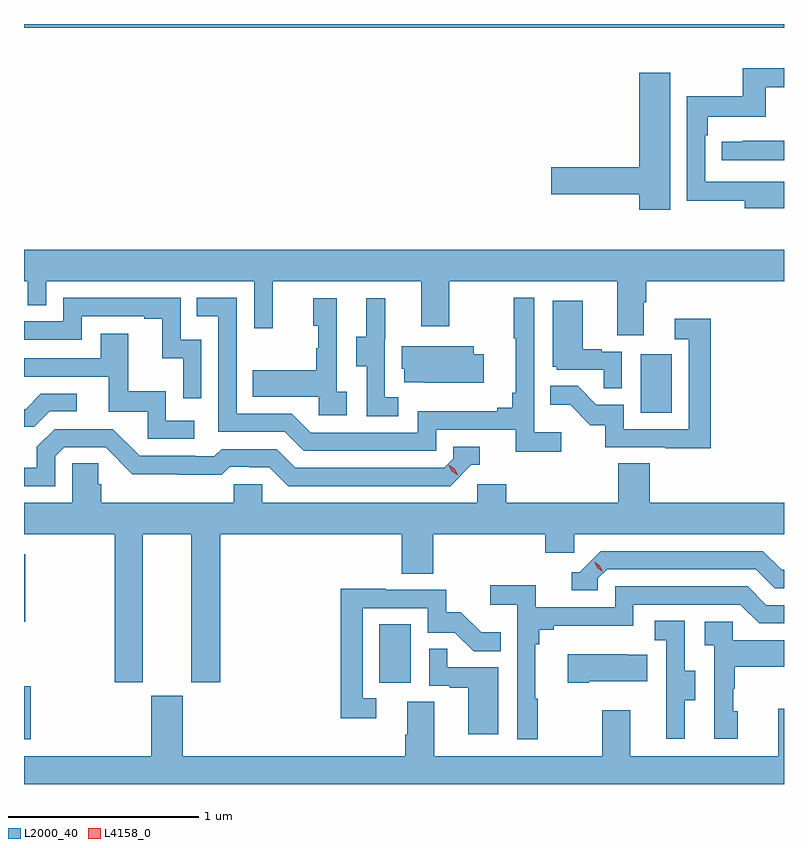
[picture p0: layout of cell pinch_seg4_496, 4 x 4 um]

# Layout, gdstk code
import gdstk
lib = gdstk.Library(unit=1e-6, precision=1e-09)
def R(c, l, rs):  # rectangles x0, y0, x1, y1
    for r in rs: c.add(gdstk.rectangle(r[:2], r[2:], *l))
def P(c, l, *ps):  # polygons
    for p in ps: c.add(gdstk.Polygon(p, *l))
L2000_40 = (2000, 40)
L4158_0 = (4158, 0)

pinch_seg4_496 = lib.new_cell('pinch_seg4_496')
R(pinch_seg4_496, L2000_40, [(982.851,755.781,982.886,756.06), (984.722,756.078,984.886,756.385), (982.851,756.398,982.857,756.754), (986.096,757.5,986.26,757.807), (982.851,759.524,986.851,759.545)])
P(pinch_seg4_496, L2000_40, [(986.851,758.716),(986.749,758.716),(986.749,758.715),(986.436,758.715),(986.436,758.96),(986.45,758.96),(986.45,759.056),(986.755,759.056),(986.755,759.211),(986.851,759.211),(986.851,759.312),(986.634,759.312),(986.634,759.166),(986.34,759.166),(986.34,758.614),(986.645,758.614),(986.645,758.576),(986.851,758.576)],
  [(986.251,759.289),(986.09,759.289),(986.09,758.792),(985.626,758.792),(985.626,758.65),(986.09,758.65),(986.09,758.568),(986.251,758.568)],
  [(986.851,758.93),(986.635,758.93),(986.635,758.925),(986.523,758.925),(986.523,758.829),(986.851,758.829)],
  [(986.113,758.08),(986.126,758.08),(986.126,758.192),(986.851,758.192),(986.851,758.356),(982.851,758.356),(982.851,758.192),(982.872,758.192),(982.872,758.065),(982.968,758.065),(982.968,758.192),(984.063,758.192),(984.063,757.944),(984.161,757.944),(984.161,758.192),(984.941,758.192),(984.941,757.953),(985.089,757.953),(985.089,758.192),(985.973,758.192),(985.973,757.906),(986.113,757.906)],
  [(985.678,757.396),(985.536,757.396),(985.536,758.104),(985.428,758.104),(985.428,757.891),(985.439,757.891),(985.439,757.603),(985.42,757.603),(985.42,757.526),(985.343,757.526),(985.343,757.507),(984.924,757.507),(984.924,757.395),(984.36,757.395),(984.261,757.494),(983.97,757.494),(983.97,758.103),(983.761,758.103),(983.761,758.007),(983.874,758.007),(983.874,757.398),(984.224,757.398),(984.323,757.299),(985.02,757.299),(985.02,757.41),(985.439,757.41),(985.439,757.294),(985.678,757.294)],
  [(983.784,757.884),(983.676,757.884),(983.676,758.103),(983.058,758.103),(983.058,757.98),(982.851,757.98),(982.851,757.884),(983.154,757.884),(983.154,758.007),(983.483,758.007),(983.483,757.995),(983.579,757.995),(983.579,757.787),(983.688,757.787),(983.688,757.575),(983.784,757.575)],
  [(984.82,757.581),(984.75,757.581),(984.75,757.887),(984.752,757.887),(984.752,758.101),(984.653,758.101),(984.653,757.899),(984.599,757.899),(984.599,757.744),(984.654,757.744),(984.654,757.48),(984.82,757.48)],
  [(984.55,757.61),(984.498,757.61),(984.498,758.101),(984.374,758.101),(984.374,757.956),(984.4,757.956),(984.4,757.838),(984.39,757.838),(984.39,757.723),(984.055,757.723),(984.055,757.583),(984.402,757.583),(984.402,757.485),(984.55,757.485)],
  [(985.998,757.821),(985.892,757.821),(985.892,757.834),(985.792,757.834),(985.792,758.089),(985.634,758.089),(985.634,757.74),(985.656,757.74),(985.656,757.725),(985.903,757.725),(985.903,757.627),(985.998,757.627)],
  [(986.465,757.993),(986.277,757.993),(986.277,757.887),(986.349,757.887),(986.349,757.413),(986.007,757.413),(986.007,757.542),(985.863,757.542),(985.765,757.64),(985.621,757.64),(985.621,757.541),(985.725,757.541),(985.832,757.434),(985.909,757.434),(985.909,757.317),(986.227,757.317),(986.227,757.312),(986.465,757.312)],
  [(983.746,757.458),(983.598,757.458),(983.598,757.612),(983.399,757.612),(983.399,757.915),(983.255,757.915),(983.255,757.785),(982.851,757.785),(982.851,757.689),(983.297,757.689),(983.297,757.503),(983.502,757.503),(983.502,757.362),(983.746,757.362)],
  [(985.27,757.806),(985.219,757.806),(985.219,757.849),(984.839,757.849),(984.839,757.731),(984.851,757.731),(984.851,757.659),(984.955,757.659),(984.955,757.658),(985.27,757.658)],
  [(982.986,757.506),(983.128,757.506),(983.128,757.599),(982.94,757.599),(982.859,757.518),(982.851,757.518),(982.851,757.426),(982.906,757.426)],
  [(983.016,757.269),(983.064,757.317),(983.28,757.317),(983.422,757.175),(983.658,757.175),(983.658,757.173),(983.891,757.173),(983.933,757.215),(984.036,757.215),(984.036,757.212),(984.143,757.212),(984.242,757.113),(985.095,757.113),(985.206,757.224),(985.249,757.224),(985.249,757.32),(985.11,757.32),(985.11,757.257),(985.062,757.209),(984.279,757.209),(984.18,757.308),(983.891,757.308),(983.852,757.269),(983.753,757.269),(983.753,757.272),(983.46,757.272),(983.319,757.413),(983.013,757.413),(982.919,757.319),(982.919,757.209),(982.851,757.209),(982.851,757.113),(983.016,757.113)],
  [(983.476,756.86),(983.732,756.86),(983.732,756.081),(983.885,756.081),(983.885,756.86),(984.839,756.86),(984.839,756.652),(985.004,756.652),(985.004,756.86),(985.595,756.86),(985.595,756.762),(985.746,756.762),(985.746,756.86),(986.851,756.86),(986.851,757.024),(986.144,757.024),(986.144,757.232),(985.979,757.232),(985.979,757.024),(985.388,757.024),(985.388,757.122),(985.236,757.122),(985.236,757.024),(984.105,757.024),(984.105,757.122),(983.955,757.122),(983.955,757.024),(983.258,757.024),(983.258,757.122),(983.243,757.122),(983.243,757.232),(983.106,757.232),(983.106,757.024),(982.851,757.024),(982.851,756.86),(983.329,756.86),(983.329,756.081),(983.476,756.081)],
  [(985.872,756.627),(985.92,756.675),(986.703,756.675),(986.802,756.576),(986.851,756.576),(986.851,756.672),(986.839,756.672),(986.74,756.771),(985.887,756.771),(985.776,756.66),(985.733,756.66),(985.733,756.564),(985.872,756.564)],
  [(985.555,755.993),(985.543,755.993),(985.543,756.281),(985.562,756.281),(985.562,756.358),(985.639,756.358),(985.639,756.377),(986.058,756.377),(986.058,756.489),(986.622,756.489),(986.721,756.39),(986.851,756.39),(986.851,756.486),(986.758,756.486),(986.659,756.585),(985.962,756.585),(985.962,756.474),(985.544,756.474),(985.544,756.59),(985.305,756.59),(985.305,756.488),(985.446,756.488),(985.446,755.781),(985.555,755.781)],
  [(984.706,755.997),(984.633,755.997),(984.633,756.471),(984.975,756.471),(984.975,756.342),(985.119,756.342),(985.217,756.244),(985.361,756.244),(985.361,756.343),(985.257,756.343),(985.15,756.45),(985.074,756.45),(985.074,756.567),(984.755,756.567),(984.755,756.572),(984.517,756.572),(984.517,755.892),(984.706,755.892)],
  [(986.329,755.986),(986.383,755.986),(986.383,756.141),(986.328,756.141),(986.328,756.404),(986.172,756.404),(986.172,756.301),(986.232,756.301),(986.232,755.997),(986.231,755.997),(986.231,755.784),(986.329,755.784)],
  [(986.608,755.928),(986.583,755.928),(986.583,756.047),(986.593,756.047),(986.593,756.161),(986.851,756.161),(986.851,756.301),(986.58,756.301),(986.58,756.399),(986.433,756.399),(986.433,756.275),(986.484,756.275),(986.484,755.784),(986.608,755.784)],
  [(985.348,756.159),(985.079,756.159),(985.079,756.257),(984.984,756.257),(984.984,756.063),(985.091,756.063),(985.091,756.051),(985.19,756.051),(985.19,755.808),(985.348,755.808)],
  [(985.825,756.086),(986.132,756.086),(986.132,756.226),(986.027,756.226),(986.027,756.229),(985.713,756.229),(985.713,756.079),(985.825,756.079)],
  [(986.851,755.941),(986.822,755.941),(986.822,755.692),(986.041,755.692),(986.041,755.932),(985.894,755.932),(985.894,755.692),(985.009,755.692),(985.009,755.978),(984.869,755.978),(984.869,755.804),(984.857,755.804),(984.857,755.692),(983.686,755.692),(983.686,756.009),(983.522,756.009),(983.522,755.692),(982.851,755.692),(982.851,755.545),(986.851,755.545)])
P(pinch_seg4_496, L4158_0, [(985.133,757.171),(985.102,757.191),(985.086,757.224),(985.086,757.224),(985.087,757.224),(985.117,757.204),(985.133,757.171),(985.133,757.171)],
  [(985.897,756.662),(985.867,756.682),(985.851,756.715),(985.851,756.715),(985.852,756.715),(985.882,756.695),(985.897,756.662),(985.897,756.662)])

lib.write_gds('pinch_seg4_496.gds')
